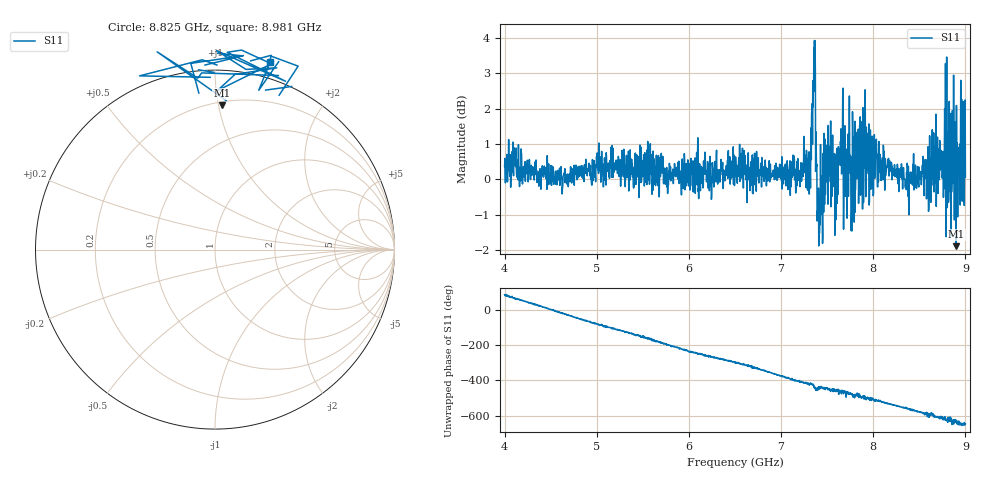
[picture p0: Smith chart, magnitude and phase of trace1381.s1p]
! Created with skrf 1.8.0 (http://scikit-rf.org).
# Hz S RI R 50.0
!freq ReS11 ImS11
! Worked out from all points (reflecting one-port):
!   1601 points, 4 GHz to 9 GHz, reference 50 ohm
!   lowest |S11| = -1.9 dB at 8.9 GHz (marker M1), VSWR 9.28, Z = 11.2 + j51.1 ohm
!   phase of S11 starts at 85 deg and turns -731 deg over the sweep
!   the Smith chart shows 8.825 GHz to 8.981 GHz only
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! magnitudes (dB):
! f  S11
! 4 GHz  0.4
! 4.625 GHz  -0.4
! 5.25 GHz  0.2
! 5.875 GHz  0.2
! 6.5 GHz  0.3
! 7.125 GHz  0.4
! 7.297 GHz  0.2
! 7.316 GHz  0.3
! 7.347 GHz  2.0
! 7.369 GHz  3.9
! 7.4 GHz  -1.0
! 7.412 GHz  -0.5
! 7.512 GHz  1.5
! 7.609 GHz  -0.7
! 7.647 GHz  1.0
! 7.7 GHz  -0.2
! 7.75 GHz  0.7
! 7.784 GHz  -0.3
! 7.8 GHz  -0.9
! 7.928 GHz  0.8
! 8.375 GHz  0.1
! 8.603 GHz  -0.8
! 8.656 GHz  1.3
! 8.741 GHz  0.5
! 8.788 GHz  -0.8
! 8.9 GHz  -1.9
! 8.972 GHz  1.0
! 9 GHz  0.1
